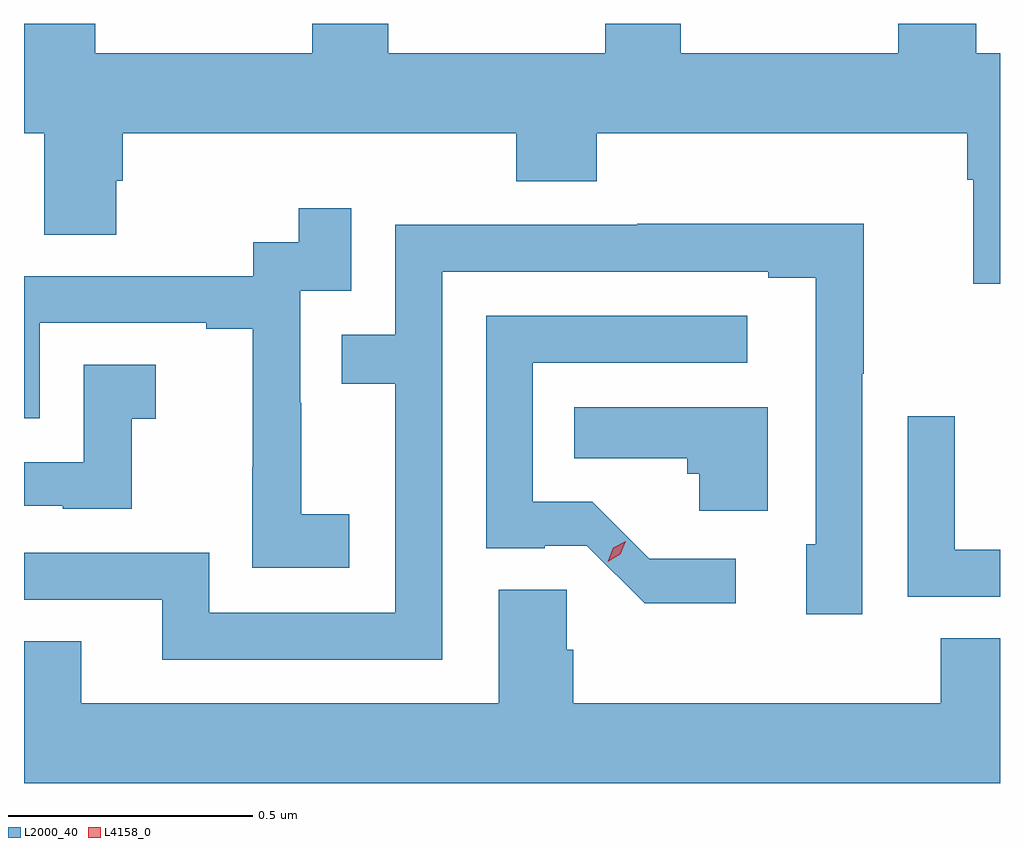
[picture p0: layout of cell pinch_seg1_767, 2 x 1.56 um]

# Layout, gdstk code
import gdstk
lib = gdstk.Library(unit=1e-6, precision=1e-09)
def P(c, l, *ps):  # polygons
    for p in ps: c.add(gdstk.Polygon(p, *l))
L2000_40 = (2000, 40)
L4158_0 = (4158, 0)

pinch_seg1_767 = lib.new_cell('pinch_seg1_767')
P(pinch_seg1_767, L2000_40, [(863.724,509.272),(863.675,509.272),(863.675,509.332),(863.515,509.332),(863.515,509.272),(863.07,509.272),(863.07,509.332),(862.915,509.332),(862.915,509.272),(862.47,509.272),(862.47,509.332),(862.315,509.332),(862.315,509.272),(861.87,509.272),(861.87,509.332),(861.724,509.332),(861.724,509.108),(861.766,509.108),(861.766,508.9),(861.913,508.9),(861.913,509.01),(861.926,509.01),(861.926,509.108),(862.733,509.108),(862.733,509.009),(862.898,509.009),(862.898,509.108),(863.657,509.108),(863.657,509.012),(863.669,509.012),(863.669,508.799),(863.724,508.799)],
  [(862.39,508.327),(862.292,508.327),(862.292,508.556),(862.29,508.556),(862.29,508.785),(862.395,508.785),(862.395,508.954),(862.287,508.954),(862.287,508.884),(862.194,508.884),(862.194,508.815),(861.724,508.815),(861.724,508.524),(861.756,508.524),(861.756,508.719),(862.097,508.719),(862.097,508.707),(862.193,508.707),(862.193,508.423),(862.192,508.423),(862.192,508.217),(862.39,508.217)],
  [(862.581,508.824),(863.249,508.824),(863.249,508.812),(863.346,508.812),(863.346,508.266),(863.327,508.266),(863.327,508.122),(863.442,508.122),(863.442,508.615),(863.445,508.615),(863.445,508.922),(862.981,508.922),(862.981,508.92),(862.485,508.92),(862.485,508.695),(862.375,508.695),(862.375,508.594),(862.485,508.594),(862.485,508.125),(862.104,508.125),(862.104,508.248),(861.724,508.248),(861.724,508.152),(862.007,508.152),(862.007,508.029),(862.581,508.029)],
  [(863.182,508.236),(863.005,508.236),(862.888,508.353),(862.767,508.353),(862.767,508.638),(863.206,508.638),(863.206,508.734),(862.671,508.734),(862.671,508.257),(862.791,508.257),(862.791,508.263),(862.877,508.263),(862.996,508.145),(863.182,508.145)],
  [(861.945,508.523),(861.994,508.523),(861.994,508.633),(861.846,508.633),(861.846,508.434),(861.724,508.434),(861.724,508.344),(861.803,508.344),(861.803,508.338),(861.945,508.338)],
  [(863.248,508.546),(862.852,508.546),(862.852,508.442),(863.083,508.442),(863.083,508.41),(863.108,508.41),(863.108,508.334),(863.248,508.334)],
  [(863.724,508.254),(863.631,508.254),(863.631,508.528),(863.535,508.528),(863.535,508.158),(863.724,508.158)],
  [(863.724,508.073),(863.603,508.073),(863.603,507.94),(862.85,507.94),(862.85,508.049),(862.836,508.049),(862.836,508.172),(862.697,508.172),(862.697,507.94),(861.841,507.94),(861.841,508.067),(861.724,508.067),(861.724,507.776),(863.724,507.776)])
P(pinch_seg1_767, L4158_0, [(862.92,508.23),(862.92,508.23),(862.931,508.258),(862.957,508.272),(862.957,508.272),(862.957,508.272),(862.946,508.245),(862.92,508.23)])

lib.write_gds('pinch_seg1_767.gds')
